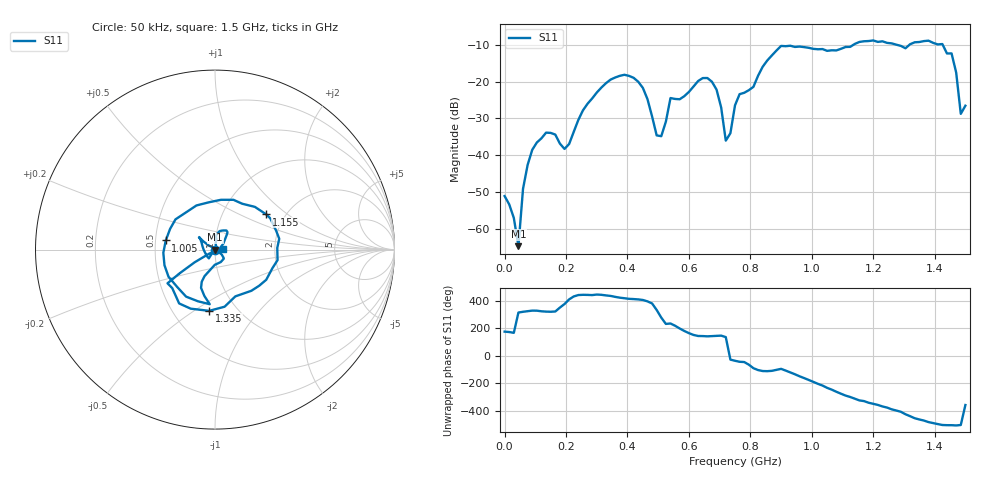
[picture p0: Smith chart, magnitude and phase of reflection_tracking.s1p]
! Created with skrf 1.8.0 (http://scikit-rf.org).
# Hz S RI R 50.0
!freq ReS11 ImS11
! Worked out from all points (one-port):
!   101 points, 50 kHz to 1.5 GHz, reference 50 ohm
!   lowest |S11| = -64.8 dB at 45.05 MHz (marker M1), VSWR 1.00, Z = 50 - j0.041 ohm
!   |S11| at or under -10 dB: start of sweep to 1.135 GHz; 1.277 GHz to 1.318 GHz (40.35 MHz wide, 3.11 % of centre); 1.426 GHz to end of sweep
!   S11 on the Smith chart (normalised r, x): 50 kHz: 0.99, +0.00; 1.005 GHz: 0.57, +0.06; 1.155 GHz: 1.60, +0.71; 1.335 GHz: 0.75, -0.58; 1.5 GHz: 1.10, +0.00
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50000  -0.00276 0.000213
4.50485e7  0.000407 -0.000409
6.0048e7  0.00268 -0.00223
9.0047e7  0.0101 -0.00612
1.350455e8  0.0158 -0.0126
1.950435e8  0.0116 0.0035
2.70041e8  0.00582 0.0496
3.750375e8  0.0543 0.1068
4.50035e8  0.0567 0.0596
4.950335e8  0.0166 -0.00826
5.10033e8  0.00246 -0.0179
5.40032e8  -0.0343 -0.0489
5.70031e8  -0.0546 -0.0183
6.750275e8  -0.0795 0.0599
7.050265e8  -0.0371 0.0245
7.20026e8  -0.0113 0.011
7.50025e8  0.0381 -0.0284
9.0002e8  -0.0294 -0.3043
9.450185e8  -0.2094 -0.2096
1.005016e9  -0.2744 0.0508
1.125012e9  0.1519 0.2555
1.155012e9  0.2859 0.196
1.230009e9  0.3485 -0.0588
1.320006e9  0.0534 -0.3182
1.335006e9  -0.0325 -0.3412
1.455002e9  -0.2007 -0.1348
1.485e9  -0.0297 -0.0211
1.5e9  0.047 0.000817
